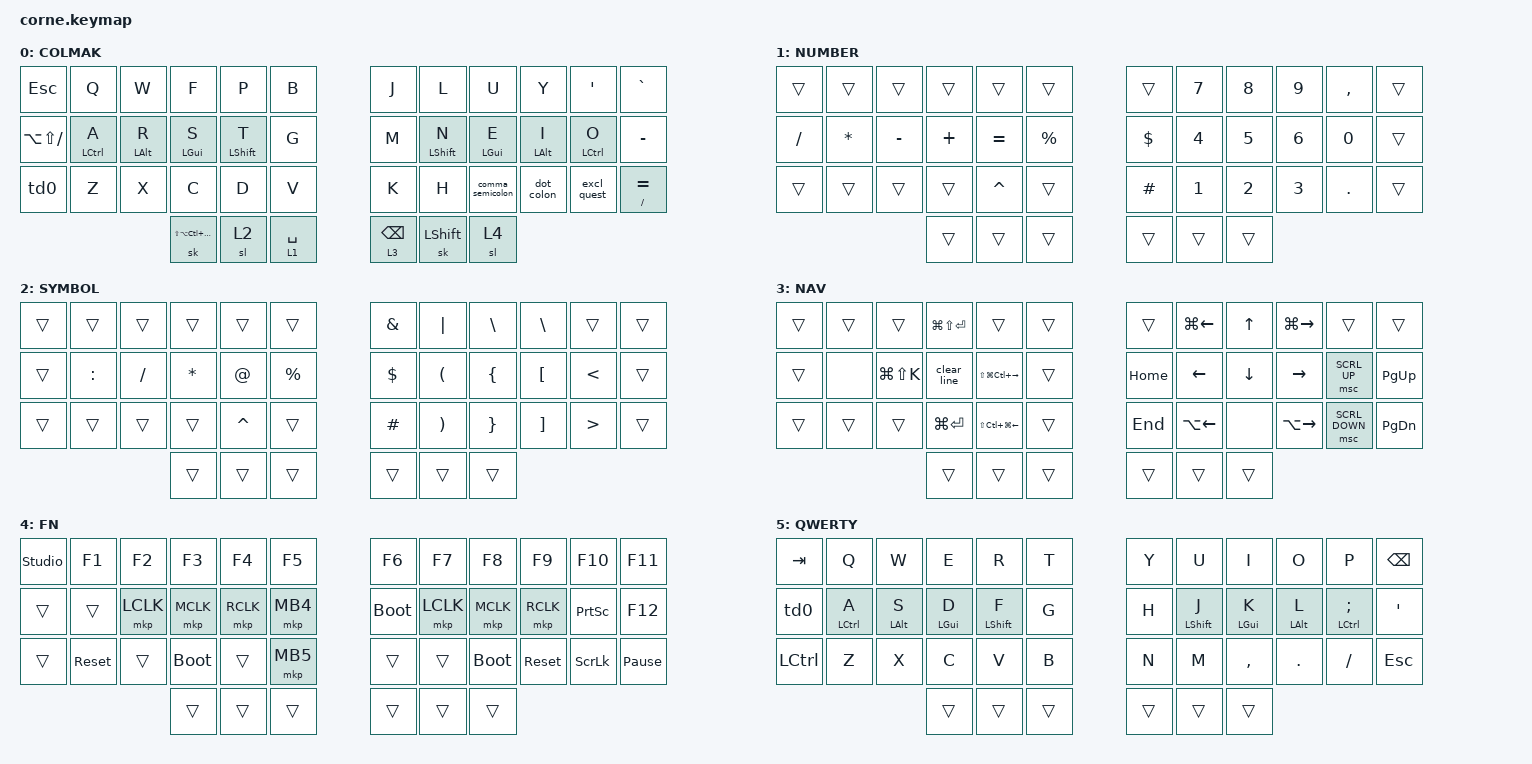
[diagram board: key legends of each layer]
#define ZMK_POINTING_DEFAULT_MOVE_VAL 1500  // default: 600
#define ZMK_POINTING_DEFAULT_SCRL_VAL 20    // default: 10

#include <input/processors.dtsi>
#include <behaviors.dtsi>
#include <dt-bindings/zmk/keys.h>
#include <dt-bindings/zmk/pointing.h>

/*

   &mmv_input_listener {
       input-processors = <&zip_xy_scaler 2 1>;
   };

   &msc_input_listener {
       input-processors = <&zip_xy_scaler 2 1>;
   };

 */

/ {
    behaviors {
        td0: td0 {
            compatible = "zmk,behavior-tap-dance";
            display-name = "Shift/Caps Lock Tap Dance";
            #binding-cells = <0>;
            bindings = <&kp LEFT_SHIFT>, <&kp CAPS>;
        };

        hm: homerow_mods {
            compatible = "zmk,behavior-hold-tap";
            #binding-cells = <2>;
            tapping-term-ms = <280>;
            quick-tap-ms = <175>;
            require-prior-idle-ms = <150>;
            flavor = "balanced";
            bindings = <&kp>, <&kp>;
        };

        comma_semicolon: comma_semicolon {
            compatible = "zmk,behavior-mod-morph";
            #binding-cells = <0>;
            bindings = <&kp COMMA>, <&kp SEMI>;

            mods = <(MOD_LSFT)>;
        };

        dot_colon: dot_colon {
            compatible = "zmk,behavior-mod-morph";
            #binding-cells = <0>;
            bindings = <&kp DOT>, <&kp LS(SEMI)>;

            mods = <(MOD_LSFT)>;
        };

        excl_quest: excl_quest {
            compatible = "zmk,behavior-mod-morph";
            #binding-cells = <0>;
            bindings = <&kp LS(FSLH)>, <&kp LS(N1)>;

            mods = <(MOD_LSFT)>;
        };
    };

    combos {
        compatible = "zmk,combos";

        combo_cut {
            timeout-ms = <50>;
            key-positions = <26 28>;
            bindings = <&kp LG(X)>;
        };

        combo_copy {
            timeout-ms = <50>;
            key-positions = <26 27>;
            bindings = <&kp LG(C)>;
        };

        combo_paste {
            timeout-ms = <50>;
            key-positions = <27 28>;
            bindings = <&kp LG(V)>;
        };

        combo_undo {
            timeout-ms = <50>;
            key-positions = <3 4>;
            bindings = <&kp LG(Z)>;
        };

        combo_redo {
            bindings = <&kp LS(LG(Z))>;
            key-positions = <2 3>;
        };

        combo_backspace {
            timeout-ms = <50>;
            key-positions = <8 7>;
            bindings = <&kp BSPC>;
        };

        combo_delete {
            timeout-ms = <50>;
            key-positions = <9 8>;
            bindings = <&kp DEL>;
        };

        combo_escape {
            timeout-ms = <50>;
            key-positions = <7 9>;
            bindings = <&kp ESC>;
        };

        combo_enter {
            timeout-ms = <50>;
            key-positions = <31 32>;
            bindings = <&kp ENTER>;
        };

        combo_tab {
            timeout-ms = <50>;
            key-positions = <32 33>;
            bindings = <&kp TAB>;
        };

        combo_cmd_enter {
            bindings = <&kp LG(ENTER)>;
            key-positions = <31 33>;
        };

        vscode-cmd-palettet {
            bindings = <&kp LS(LG(P))>;
            key-positions = <16 19>;
        };
    };

    macros {
        clear_line: clear_line {
            compatible = "zmk,behavior-macro";
            #binding-cells = <0>;
            bindings =
                <&macro_press>,
                <&kp LGUI>,
                <&macro_press>,
                <&kp LSHIFT>,
                <&macro_tap>,
                <&kp K>,
                <&macro_tap>,
                <&kp ENTER>,
                <&macro_release>,
                <&kp LGUI>,
                <&macro_release>,
                <&kp LSHIFT>;
        };
    };

    keymap {
        compatible = "zmk,keymap";

        default_layer {
            display-name = "COLMAK";
            bindings = <
&kp ESCAPE         &kp Q        &kp W       &kp F                           &kp P         &kp B          &kp J            &kp L           &kp U             &kp Y       &kp SINGLE_QUOTE  &kp GRAVE
&kp LA(LS(SLASH))  &hm LCTRL A  &hm LALT R  &hm LGUI S                      &hm LSHIFT T  &kp G          &kp M            &hm LSHIFT N    &hm LGUI E        &hm LALT I  &hm LCTRL O       &kp MINUS
&td0               &kp Z        &kp X       &kp C                           &kp D         &kp V          &kp K            &kp H           &comma_semicolon  &dot_colon  &excl_quest       &mt SLASH EQUAL
                                            &sk LS(LA(LC(LG(LEFT_SHIFT))))  &sl 2         &lt 1 SPACE    &lt 3 BACKSPACE  &sk LEFT_SHIFT  &sl 4
            >;
        };

        layer_num {
            display-name = "NUMBER";
            bindings = <
&trans     &trans    &trans     &trans    &trans     &trans         &trans      &kp N7  &kp N8  &kp N9  &kp COMMA   &trans
&kp SLASH  &kp STAR  &kp MINUS  &kp PLUS  &kp EQUAL  &kp PERCENT    &kp DOLLAR  &kp N4  &kp N5  &kp N6  &kp N0      &trans
&trans     &trans    &trans     &trans    &kp CARET  &trans         &kp HASH    &kp N1  &kp N2  &kp N3  &kp PERIOD  &trans
                                &trans    &trans     &trans         &trans      &trans  &trans
            >;
        };

        layer_sym {
            display-name = "SYMBOL";
            bindings = <
&trans  &trans     &trans     &trans     &trans     &trans         &kp AMPS    &kp PIPE               &kp BACKSLASH    &kp BSLH           &trans            &trans
&trans  &kp COLON  &kp SLASH  &kp ASTRK  &kp AT     &kp PERCENT    &kp DOLLAR  &kp LEFT_PARENTHESIS   &kp LEFT_BRACE   &kp LEFT_BRACKET   &kp LESS_THAN     &trans
&trans  &trans     &trans     &trans     &kp CARET  &trans         &kp HASH    &kp RIGHT_PARENTHESIS  &kp RIGHT_BRACE  &kp RIGHT_BRACKET  &kp GREATER_THAN  &trans
                              &trans     &trans     &trans         &trans      &trans                 &trans
            >;
        };

        layer_nav {
            display-name = "NAV";
            bindings = <
&trans  &trans  &trans         &kp LG(LS(ENTER))  &trans                 &trans    &trans    &kp LG(LEFT_ARROW)  &kp UP_ARROW  &kp LG(RIGHT)  &trans          &trans
&trans  &none   &kp LG(LS(K))  &clear_line        &kp LS(LG(LC(RIGHT)))  &trans    &kp HOME  &kp LEFT            &kp DOWN      &kp RIGHT      &msc SCRL_UP    &kp PG_UP
&trans  &trans  &trans         &kp LG(ENTER)      &kp LS(LC(LG(LEFT)))   &trans    &kp END   &kp LA(LEFT)        &none         &kp LA(RIGHT)  &msc SCRL_DOWN  &kp PG_DN
                               &trans             &trans                 &trans    &trans    &trans              &trans
            >;
        };

        layer_fn {
            display-name = "FN";
            bindings = <
&studio_unlock  &kp F1      &kp F2     &kp F3       &kp F4     &kp F5      &kp F6       &kp F7     &kp F8       &kp F9      &kp F10          &kp F11
&trans          &trans      &mkp LCLK  &mkp MCLK    &mkp RCLK  &mkp MB4    &bootloader  &mkp LCLK  &mkp MCLK    &mkp RCLK   &kp PRINTSCREEN  &kp F12
&trans          &sys_reset  &trans     &bootloader  &trans     &mkp MB5    &trans       &trans     &bootloader  &sys_reset  &kp SCROLLLOCK   &kp PAUSE_BREAK
                                       &trans       &trans     &trans      &trans       &trans     &trans
            >;
        };

        layer_qwerty {
            display-name = "QWERTY";
            bindings = <
&kp TAB    &kp Q        &kp W       &kp E       &kp R         &kp T     &kp Y   &kp U         &kp I       &kp O       &kp P           &kp BSPC
&td0       &hm LCTRL A  &hm LALT S  &hm LGUI D  &hm LSHIFT F  &kp G     &kp H   &hm LSHIFT J  &hm LGUI K  &hm LALT L  &hm LCTRL SEMI  &kp SQT
&kp LCTRL  &kp Z        &kp X       &kp C       &kp V         &kp B     &kp N   &kp M         &kp COMMA   &kp DOT     &kp FSLH        &kp ESC
                                    &trans      &trans        &trans    &trans  &trans        &trans
            >;
        };
    };
};
